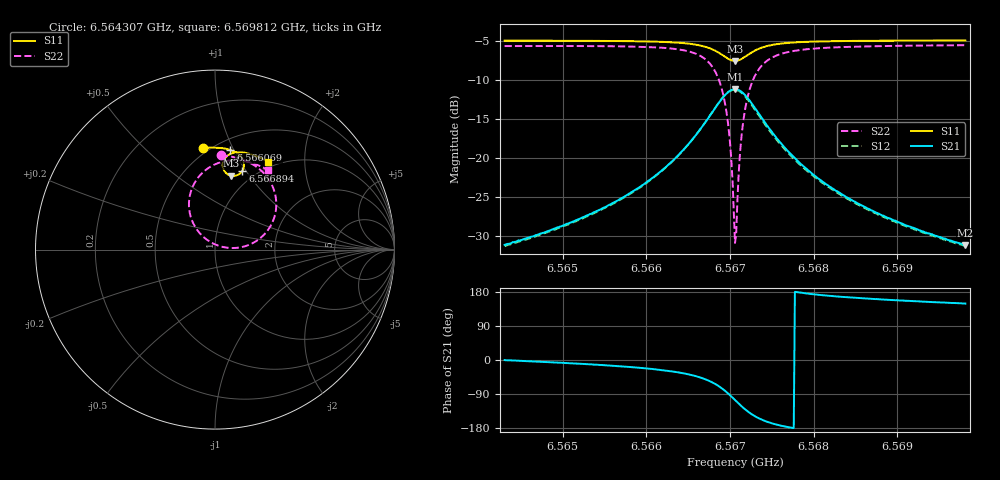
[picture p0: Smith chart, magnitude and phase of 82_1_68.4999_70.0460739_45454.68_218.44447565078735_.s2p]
#  HZ  S  RI  R  50.00
! Rohde & Schwarz Vector Network Analyzer
! Rohde-Schwarz,ZNB20-2Port,1311601062101988,3.16
! Created: UTC 3/20/2024, 5:07:20 PM
! freq[Hz]  re:S11  im:S11  re:S21  im:S21  re:S12  im:S12  re:S22  im:S22
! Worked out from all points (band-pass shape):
!   401 points, 6.564307 GHz to 6.569812 GHz, reference 50 ohm
!   highest |S21| = -11.14 dB at 6.56706 GHz (marker M1); lowest = -31.2 dB at 6.569812 GHz (marker M2)
!   |S21| within 3 dB of the highest: 6.566785 GHz to 6.567335 GHz (550.1 kHz wide, 0.00838 % of centre)
!   lowest |S11| = -7.5 dB at 6.56706 GHz (marker M3), VSWR 2.46, Z = 41.2 + j41.2 ohm
!   |S11| at or under -10 dB: nowhere
!   |S22| runs from -30.9 to -5.5 dB; largest |S21 - S12| = 0.013
!   S11 on the Smith chart (normalised r, x): 6.564307 GHz: 0.46, +0.78; 6.566069 GHz: 0.60, +0.97; 6.566894 GHz: 0.86, +0.97; 6.569812 GHz: 0.92, +1.33
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6.5643074e9  -0.0665 0.5651  0.0277 -0.000115  0.0271 -0.000552  0.0328 0.5243
6.5652294e9  0.00854 0.5678  0.0406 -0.00737  0.0399 -0.00787  0.1194 0.5116
6.5660688e9  0.0863 0.5551  0.068 -0.0297  0.0669 -0.0307  0.2268 0.4643
6.5661513e9  0.095 0.5518  0.0725 -0.0347  0.0713 -0.0357  0.2406 0.4542
6.5664541e9  0.1296 0.5328  0.0933 -0.0668  0.0918 -0.0682  0.2995 0.3911
6.5666605e9  0.1535 0.5047  0.1066 -0.1156  0.1044 -0.1179  0.3376 0.2968
6.5667981e9  0.1617 0.4711  0.0999 -0.1744  0.0956 -0.1775  0.3319 0.1849
6.5668944e9  0.153 0.4399  0.0676 -0.2277  0.0603 -0.2307  0.2745 0.0846
6.566977e9  0.1279 0.4166  0.00784 -0.2653  -0.00292 -0.2654  0.165 0.0181
6.5670045e9  0.1159 0.4123  -0.0186 -0.2711  -0.03 -0.2695  0.1174 0.00942
6.5670458e9  0.0961 0.4108  -0.0607 -0.2701  -0.0723 -0.2655  0.0423 0.015
6.5670595e9  0.0895 0.4119  -0.0748 -0.2669  -0.0859 -0.2613  0.018 0.0221
6.5670733e9  0.083 0.4136  -0.0883 -0.2623  -0.0992 -0.2557  -0.00542 0.0316
6.5670871e9  0.0767 0.4163  -0.1013 -0.2566  -0.1117 -0.2491  -0.0276 0.0433
6.5671283e9  0.0606 0.4274  -0.1354 -0.2326  -0.1435 -0.2229  -0.0837 0.0901
6.5671696e9  0.0496 0.4425  -0.1595 -0.2023  -0.1649 -0.1913  -0.1211 0.1462
6.5672247e9  0.0432 0.4639  -0.1765 -0.1597  -0.1785 -0.1489  -0.1434 0.2226
6.5672935e9  0.0452 0.488  -0.1791 -0.1127  -0.1782 -0.1034  -0.1394 0.3047
6.5675412e9  0.0838 0.5322  -0.1355 -0.0247  -0.1325 -0.0209  -0.0411 0.4515
6.5679815e9  0.1446 0.5422  -0.079 0.00849  -0.077 0.00974  0.0883 0.4972
6.5689035e9  0.2296 0.5208  -0.0382 0.015  -0.0373 0.0152  0.2182 0.4789
6.5698117e9  0.2963 0.488  -0.0236 0.0143  -0.0231 0.0143  0.2966 0.4418
